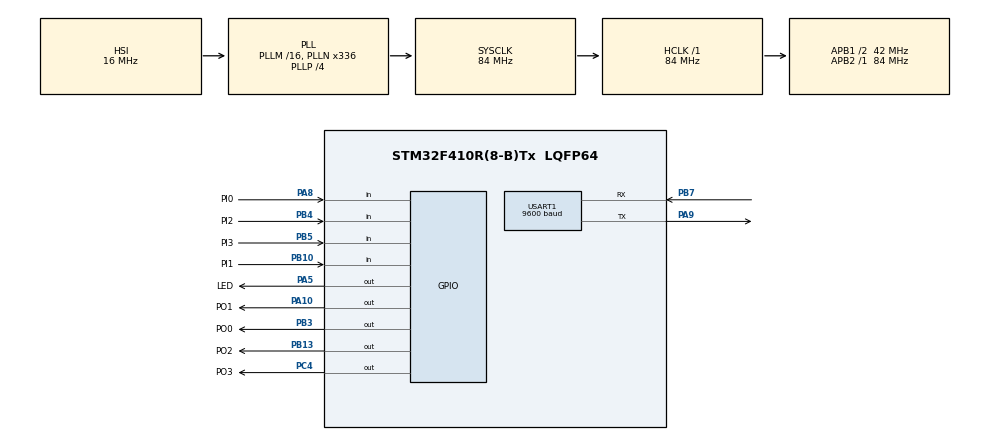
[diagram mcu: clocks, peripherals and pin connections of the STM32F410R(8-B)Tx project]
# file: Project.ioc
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Mcu.Family=STM32F4
Mcu.Name=STM32F410R(8-B)Tx
Mcu.Package=LQFP64
NVIC.PriorityGroup=NVIC_PRIORITYGROUP_0
NVIC.TIM1_BRK_TIM9_IRQn=true\:0\:0\:false\:false\:true\:true
NVIC.TIM1_TRG_COM_TIM11_IRQn=true\:0\:0\:false\:false\:true\:true
NVIC.TIM6_DAC_IRQn=true\:0\:0\:false\:false\:true\:true
NVIC.USART1_IRQn=true\:0\:0\:false\:false\:true\:true
PA10.GPIO_Label=PO1
PA10.Signal=GPIO_Output
PA5.GPIO_Label=LED
PA5.Signal=GPIO_Output
PA8.GPIO_Label=PI0
PA8.GPIO_PuPd=GPIO_PULLDOWN
PA8.Signal=GPIO_Input
PA9.Mode=Asynchronous
PA9.Signal=USART1_TX
PB10.GPIO_Label=PI1
PB10.GPIO_PuPd=GPIO_PULLDOWN
PB10.Signal=GPIO_Input
PB13.GPIO_Label=PO2
PB13.Signal=GPIO_Output
PB3.GPIO_Label=PO0
PB3.Signal=GPIO_Output
PB4.GPIO_Label=PI2
PB4.GPIO_PuPd=GPIO_PULLDOWN
PB4.Signal=GPIO_Input
PB5.GPIO_Label=PI3
PB5.GPIO_PuPd=GPIO_PULLDOWN
PB5.Signal=GPIO_Input
PB7.Mode=Asynchronous
PB7.Signal=USART1_RX
PC4.GPIO_Label=PO3
PC4.Signal=GPIO_Output
ProjectManager.HeapSize=0x200
ProjectManager.StackSize=0x400
ProjectManager.TargetToolchain=SW4STM32
RCC.48MHZClocksFreq_Value=84000000
RCC.AHBFreq_Value=84000000
RCC.APB1CLKDivider=RCC_HCLK_DIV2
RCC.APB1Freq_Value=42000000
RCC.APB1TimFreq_Value=84000000
RCC.APB2Freq_Value=84000000
RCC.APB2TimFreq_Value=84000000
RCC.CortexFreq_Value=84000000
RCC.FLatency-AdvancedSettings=FLASH_LATENCY_2
RCC.HCLKFreq_Value=84000000
RCC.HSE_VALUE=8000000
RCC.HSI_VALUE=16000000
RCC.LSE_VALUE=32768
RCC.PLLN=336
RCC.PLLP=RCC_PLLP_DIV4
RCC.SYSCLKFreq_VALUE=84000000
RCC.SYSCLKSource=RCC_SYSCLKSOURCE_PLLCLK
RCC.VCOOutputFreq_Value=336000000
RTC.Format=RTC_FORMAT_BIN
TIM11.ClockDivision=TIM_CLOCKDIVISION_DIV1
TIM11.Period=10000-1
TIM11.Prescaler=8400-1
TIM6.Period=999
TIM6.Prescaler=83
TIM6.TIM_MasterOutputTrigger=TIM_TRGO_RESET
TIM9.Period=30000-1
TIM9.Prescaler=84-1
USART1.BaudRate=9600
USART1.VirtualMode=VM_ASYNC
VP_RTC_VS_RTC_Activate.Mode=RTC_Enabled
VP_RTC_VS_RTC_Calendar.Mode=RTC_Calendar
VP_TIM11_VS_ClockSourceINT.Mode=Enable_Timer
VP_TIM6_VS_ClockSourceINT.Mode=Enable_Timer
VP_TIM9_VS_ClockSourceINT.Mode=Internal
board=NUCLEO-F410RB

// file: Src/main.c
/* USER CODE BEGIN Header */
/**
  ******************************************************************************
  * @file           : main.c
  * @brief          : Main program body
  * @author         : Adrian Oleksiak
  * @mainpage        Quick description
  ******************************************************************************
  *
  * Project deal with electronic lock. Lock can be open by two way. First approach use 4x4 keypad,
  * user can enter six-digit key and confirm it by press # character on keyboard. In case of enter
  * less than six number, system will ignore it after two second. Character C on keypad removes all
  * digits in code. When lock  can be close by * button. Second approach use bluetooth module,
  * user send special formed frame to communicate with microcontroller. six digit will be treat as code
  * frame with d on first place change data in rtc clock ("d01:12"}, frame with t change time ("t12:10).
  * System stores log in circular buffer, if bluetooth send $ char log will be return. Bluetooth user can
  * change password.
  *
 * \par Default pinout LCD
 *
\verbatim
LCD   GPIO              DESCRIPTION
RS    PB2               Register select, can be overwritten in your project's defines.h file
E     PB7               Enable pin, can be overwritten in your project's defines.h file
D4    PC12              Data 4, can be overwritten in your project's defines.h file
D5    PC13              Data 5, can be overwritten in your project's defines.h file
D6    PB12              Data 6, can be overwritten in your project's defines.h file
D7    PB13              Data 7, can be overwritten in your project's defines.h file

\endverbatim
  *
 * \par Default pinout Keypad
 *
\verbatim
KeyPad   GPIO             DESCRIPTION
P0       PB3              Input PIN
P1       PA10             Input PIN
P2       PB13             Input PIN
P3       PC4              Input PIN
P4       PA8              Output PIN
P5       PB10             Output PIN
P6       PB4              Output PIN
P7       PC4              Output PIN

\endverbatim

  *
 * \par Default pinout UART
 *
\verbatim
UART      GPIO          DESCRIPTION
UART_tx   PA10           tx pin
UART_rx   PB7            rx pin

\endverbatim
  *

  ******************************************************************************
  */
/* USER CODE END Header */

#include "main.h"

/* USER CODE BEGIN Includes */
#include <string.h>
//#include "define.h"
#include "tm_stm32_delay.h"
#include "tm_stm32_hd44780.h"
#include "global_variable.h"
#include "KeyPad_4x4.h"
#include "circular_buffer.h"
#include "timeout.h"
#include "uart.h"

/* USER CODE END Includes */

RTC_HandleTypeDef hrtc;

TIM_HandleTypeDef htim6;
TIM_HandleTypeDef htim9;
TIM_HandleTypeDef htim11;

UART_HandleTypeDef huart1;

/* USER CODE BEGIN PV */
/* Private variables ---------------------------------------------------------*/

Keypad_WiresTypeDef keyPad_struct;

volatile char uart_rxBuff[UART_RX_BUF_SIZE];
volatile circ_buffer_t uart_rx_circBuff = { uart_rxBuff, 0, 0 };

volatile circ_buffer_2d log_circ_buff = { NULL, 0, 0};

/* USER CODE END PV */

void SystemClock_Config(void);
static void MX_GPIO_Init(void);
static void MX_TIM6_Init(void);
static void MX_USART1_UART_Init(void);
static void MX_TIM11_Init(void);
static void MX_RTC_Init(void);
static void MX_TIM9_Init(void);
/* USER CODE BEGIN PFP */
/* Private function prototypes -----------------------------------------------*/
void HAL_UART_RxCpltCallback(UART_HandleTypeDef *huart);

/* USER CODE END PFP */

/* USER CODE BEGIN 0 */
//void keypad_serv(void);
//void uart_serv(void);
void Proj_Init(void);
void lock_close(void);
void lock_open(void);
/* USER CODE END 0 */

int main(void)
{

  /* MCU Configuration--------------------------------------------------------*/

  /* Reset of all peripherals, Initializes the Flash interface and the Systick. */
  HAL_Init();

  /* Configure the system clock */
  SystemClock_Config();

  /* Initialize all configured peripherals */
  MX_GPIO_Init();
  MX_TIM6_Init();
  MX_USART1_UART_Init();
  MX_TIM11_Init();
  MX_RTC_Init();
  MX_TIM9_Init();
  /* USER CODE BEGIN 2 */
  Proj_Init();

  /* USER CODE END 2 */

  /* Infinite loop */
  while (1)
  {

    /* USER CODE BEGIN 3 */

      if(uart_data_flag){
    	  uart_serv(&huart1,&uart_rx_circBuff);
      }
      if(flag_char){
          keypad_serv(&htim11,&log_circ_buff);
      }
      TM_HD44780_Puts(0,1,buffer2);

#ifdef TEST
      strcpy(buffer_do_lcd,buffer);

#endif
      TM_HD44780_Puts(0,0,buffer_do_lcd);
  }

  /* USER CODE END 3 */
}

void SystemClock_Config(void)
{
  RCC_OscInitTypeDef RCC_OscInitStruct = {0};
  RCC_ClkInitTypeDef RCC_ClkInitStruct = {0};
  RCC_PeriphCLKInitTypeDef PeriphClkInitStruct = {0};

  /**Configure the main internal regulator output voltage
  */
  __HAL_RCC_PWR_CLK_ENABLE();
  __HAL_PWR_VOLTAGESCALING_CONFIG(PWR_REGULATOR_VOLTAGE_SCALE1);
  /**Initializes the CPU, AHB and APB busses clocks
  */
  RCC_OscInitStruct.OscillatorType = RCC_OSCILLATORTYPE_HSI|RCC_OSCILLATORTYPE_LSI;
  RCC_OscInitStruct.HSIState = RCC_HSI_ON;
  RCC_OscInitStruct.HSICalibrationValue = RCC_HSICALIBRATION_DEFAULT;
  RCC_OscInitStruct.LSIState = RCC_LSI_ON;
  RCC_OscInitStruct.PLL.PLLState = RCC_PLL_ON;
  RCC_OscInitStruct.PLL.PLLSource = RCC_PLLSOURCE_HSI;
  RCC_OscInitStruct.PLL.PLLM = 16;
  RCC_OscInitStruct.PLL.PLLN = 336;
  RCC_OscInitStruct.PLL.PLLP = RCC_PLLP_DIV4;
  RCC_OscInitStruct.PLL.PLLQ = 4;
  RCC_OscInitStruct.PLL.PLLR = 2;
  if (HAL_RCC_OscConfig(&RCC_OscInitStruct) != HAL_OK)
  {
    Error_Handler();
  }
  /**Initializes the CPU, AHB and APB busses clocks
  */
  RCC_ClkInitStruct.ClockType = RCC_CLOCKTYPE_HCLK|RCC_CLOCKTYPE_SYSCLK
                              |RCC_CLOCKTYPE_PCLK1|RCC_CLOCKTYPE_PCLK2;
  RCC_ClkInitStruct.SYSCLKSource = RCC_SYSCLKSOURCE_PLLCLK;
  RCC_ClkInitStruct.AHBCLKDivider = RCC_SYSCLK_DIV1;
  RCC_ClkInitStruct.APB1CLKDivider = RCC_HCLK_DIV2;
  RCC_ClkInitStruct.APB2CLKDivider = RCC_HCLK_DIV1;

  if (HAL_RCC_ClockConfig(&RCC_ClkInitStruct, FLASH_LATENCY_2) != HAL_OK)
  {
    Error_Handler();
  }
  PeriphClkInitStruct.PeriphClockSelection = RCC_PERIPHCLK_RTC;
  PeriphClkInitStruct.RTCClockSelection = RCC_RTCCLKSOURCE_LSI;
  if (HAL_RCCEx_PeriphCLKConfig(&PeriphClkInitStruct) != HAL_OK)
  {
    Error_Handler();
  }
}

static void MX_RTC_Init(void)
{

  RTC_TimeTypeDef sTime = {0};
  RTC_DateTypeDef sDate = {0};

  /**Initialize RTC Only
  */
  hrtc.Instance = RTC;
  hrtc.Init.HourFormat = RTC_HOURFORMAT_24;
  hrtc.Init.AsynchPrediv = 127;
  hrtc.Init.SynchPrediv = 255;
  hrtc.Init.OutPut = RTC_OUTPUT_DISABLE;
  hrtc.Init.OutPutPolarity = RTC_OUTPUT_POLARITY_HIGH;
  hrtc.Init.OutPutType = RTC_OUTPUT_TYPE_OPENDRAIN;
  if (HAL_RTC_Init(&hrtc) != HAL_OK)
  {
    Error_Handler();
  }

  /**Initialize RTC and set the Time and Date
  */
  sTime.Hours = 0;
  sTime.Minutes = 0;
  sTime.Seconds = 0;
  sTime.DayLightSaving = RTC_DAYLIGHTSAVING_NONE;
  sTime.StoreOperation = RTC_STOREOPERATION_RESET;
  if (HAL_RTC_SetTime(&hrtc, &sTime, RTC_FORMAT_BIN) != HAL_OK)
  {
    Error_Handler();
  }
  sDate.WeekDay = RTC_WEEKDAY_MONDAY;
  sDate.Month = RTC_MONTH_JANUARY;
  sDate.Date = 1;
  sDate.Year = 0;

  if (HAL_RTC_SetDate(&hrtc, &sDate, RTC_FORMAT_BIN) != HAL_OK)
  {
    Error_Handler();
  }

}

static void MX_TIM6_Init(void)
{

  TIM_MasterConfigTypeDef sMasterConfig = {0};

  htim6.Instance = TIM6;
  htim6.Init.Prescaler = 83;
  htim6.Init.CounterMode = TIM_COUNTERMODE_UP;
  htim6.Init.Period = 999;
  if (HAL_TIM_Base_Init(&htim6) != HAL_OK)
  {
    Error_Handler();
  }
  sMasterConfig.MasterOutputTrigger = TIM_TRGO_RESET;
  sMasterConfig.MasterSlaveMode = TIM_MASTERSLAVEMODE_DISABLE;
  if (HAL_TIMEx_MasterConfigSynchronization(&htim6, &sMasterConfig) != HAL_OK)
  {
    Error_Handler();
  }

}

static void MX_TIM9_Init(void)
{

  TIM_ClockConfigTypeDef sClockSourceConfig = {0};

  htim9.Instance = TIM9;
  htim9.Init.Prescaler = 84-1;
  htim9.Init.CounterMode = TIM_COUNTERMODE_UP;
  htim9.Init.Period = 30000-1;
  htim9.Init.ClockDivision = TIM_CLOCKDIVISION_DIV1;
  if (HAL_TIM_Base_Init(&htim9) != HAL_OK)
  {
    Error_Handler();
  }
  sClockSourceConfig.ClockSource = TIM_CLOCKSOURCE_INTERNAL;
  if (HAL_TIM_ConfigClockSource(&htim9, &sClockSourceConfig) != HAL_OK)
  {
    Error_Handler();
  }

}

static void MX_TIM11_Init(void)
{

  htim11.Instance = TIM11;
  htim11.Init.Prescaler = 8400-1;
  htim11.Init.CounterMode = TIM_COUNTERMODE_UP;
  htim11.Init.Period = 10000-1;
  htim11.Init.ClockDivision = TIM_CLOCKDIVISION_DIV1;
  if (HAL_TIM_Base_Init(&htim11) != HAL_OK)
  {
    Error_Handler();
  }

}

static void MX_USART1_UART_Init(void)
{

  huart1.Instance = USART1;
  huart1.Init.BaudRate = 9600;
  huart1.Init.WordLength = UART_WORDLENGTH_8B;
  huart1.Init.StopBits = UART_STOPBITS_1;
  huart1.Init.Parity = UART_PARITY_NONE;
  huart1.Init.Mode = UART_MODE_TX_RX;
  huart1.Init.HwFlowCtl = UART_HWCONTROL_NONE;
  huart1.Init.OverSampling = UART_OVERSAMPLING_16;
  if (HAL_UART_Init(&huart1) != HAL_OK)
  {
    Error_Handler();
  }

}

static void MX_GPIO_Init(void)
{
  GPIO_InitTypeDef GPIO_InitStruct = {0};

  /* GPIO Ports Clock Enable */
  __HAL_RCC_GPIOA_CLK_ENABLE();
  __HAL_RCC_GPIOC_CLK_ENABLE();
  __HAL_RCC_GPIOB_CLK_ENABLE();

  /*Configure GPIO pin Output Level */
  HAL_GPIO_WritePin(GPIOA, LED_Pin|PO1_Pin, GPIO_PIN_RESET);

  /*Configure GPIO pin Output Level */
  HAL_GPIO_WritePin(PO3_GPIO_Port, PO3_Pin, GPIO_PIN_RESET);

  /*Configure GPIO pin Output Level */
  HAL_GPIO_WritePin(GPIOB, PO2_Pin|PO0_Pin, GPIO_PIN_RESET);

  /*Configure GPIO pins : LED_Pin PO1_Pin */
  GPIO_InitStruct.Pin = LED_Pin|PO1_Pin;
  GPIO_InitStruct.Mode = GPIO_MODE_OUTPUT_PP;
  GPIO_InitStruct.Pull = GPIO_NOPULL;
  GPIO_InitStruct.Speed = GPIO_SPEED_FREQ_LOW;
  HAL_GPIO_Init(GPIOA, &GPIO_InitStruct);

  /*Configure GPIO pin : PO3_Pin */
  GPIO_InitStruct.Pin = PO3_Pin;
  GPIO_InitStruct.Mode = GPIO_MODE_OUTPUT_PP;
  GPIO_InitStruct.Pull = GPIO_NOPULL;
  GPIO_InitStruct.Speed = GPIO_SPEED_FREQ_LOW;
  HAL_GPIO_Init(PO3_GPIO_Port, &GPIO_InitStruct);

  /*Configure GPIO pins : PI1_Pin PI2_Pin PI3_Pin */
  GPIO_InitStruct.Pin = PI1_Pin|PI2_Pin|PI3_Pin;
  GPIO_InitStruct.Mode = GPIO_MODE_INPUT;
  GPIO_InitStruct.Pull = GPIO_PULLDOWN;
  HAL_GPIO_Init(GPIOB, &GPIO_InitStruct);

  /*Configure GPIO pins : PO2_Pin PO0_Pin */
  GPIO_InitStruct.Pin = PO2_Pin|PO0_Pin;
  GPIO_InitStruct.Mode = GPIO_MODE_OUTPUT_PP;
  GPIO_InitStruct.Pull = GPIO_NOPULL;
  GPIO_InitStruct.Speed = GPIO_SPEED_FREQ_LOW;
  HAL_GPIO_Init(GPIOB, &GPIO_InitStruct);

  /*Configure GPIO pin : PI0_Pin */
  GPIO_InitStruct.Pin = PI0_Pin;
  GPIO_InitStruct.Mode = GPIO_MODE_INPUT;
  GPIO_InitStruct.Pull = GPIO_PULLDOWN;
  HAL_GPIO_Init(PI0_GPIO_Port, &GPIO_InitStruct);

}

/* USER CODE BEGIN 4 */
void HAL_TIM_PeriodElapsedCallback(TIM_HandleTypeDef *htim){
    if(htim->Instance == TIM6){                        // TIM6 -> keyboard timer
        Keypad4x4_ReadKeypad(&sw,&keyPad_struct);
        keyCheck();
    }
    if(htim->Instance == TIM11){                       // TIM11 -> timeout timer
        if(timeout_char_flag){
            timeout_keypad(&htim11);
        }
        else{
            timeout_uart(&htim11,&huart1,&uart_rx_circBuff);
        }
    }
    if(htim->Instance == TIM9){             // TIM9 -> uart send srting timer
        if(uart_send_log == true){
            if (uart_new_line_flag == 1) {
                uart_send_string(&huart1,"\n");
                uart_new_line_flag = false;
            }
            else{
                uart_new_line_flag=true;
                if(circ_buffer_get_string(&log_circ_buff,uart_log_str)){
                    uart_send_log = false;
                }else{
                    uart_send_string(&huart1,uart_log_str);
                }
            }
        }
    }
}

void HAL_UART_RxCpltCallback(UART_HandleTypeDef *huart) {
    uart_get_char(&htim11,&uart_rx_circBuff);
    HAL_UART_Receive_IT(&huart1, &Data_recived_temp, 1);
}

/**
  * @brief Project Initialization Function
  * @param None
  * @retval None
  */

void Proj_Init(void){
    KeyPad_4x4_Init(&keyPad_struct);
    TM_HD44780_Init(16, 2);
    HAL_TIM_Base_Start_IT(&htim6);
    HAL_TIM_Base_Start_IT(&htim9);
    k=0;
    strcpy(code,"123456");
    HAL_UART_Receive_IT(&huart1, &Data_recived_temp, 1);
    buffer_count=0;
    uart_empty_flag=true;
    number_of_bad_code=0;
    lock_open_flag=false;

}
void lock_close(void){
    lock_open_flag=false;
    HAL_GPIO_WritePin(LED_GPIO_Port,LED_Pin,0);
}
void lock_open(void){
    lock_open_flag=true;
    HAL_GPIO_WritePin(LED_GPIO_Port,LED_Pin,1);
    save_time(&log_circ_buff);
}

/* USER CODE END 4 */

void Error_Handler(void)
{
  while(1)
  {
  }
}

/************************ (C) COPYRIGHT STMicroelectronics *****END OF FILE****/
